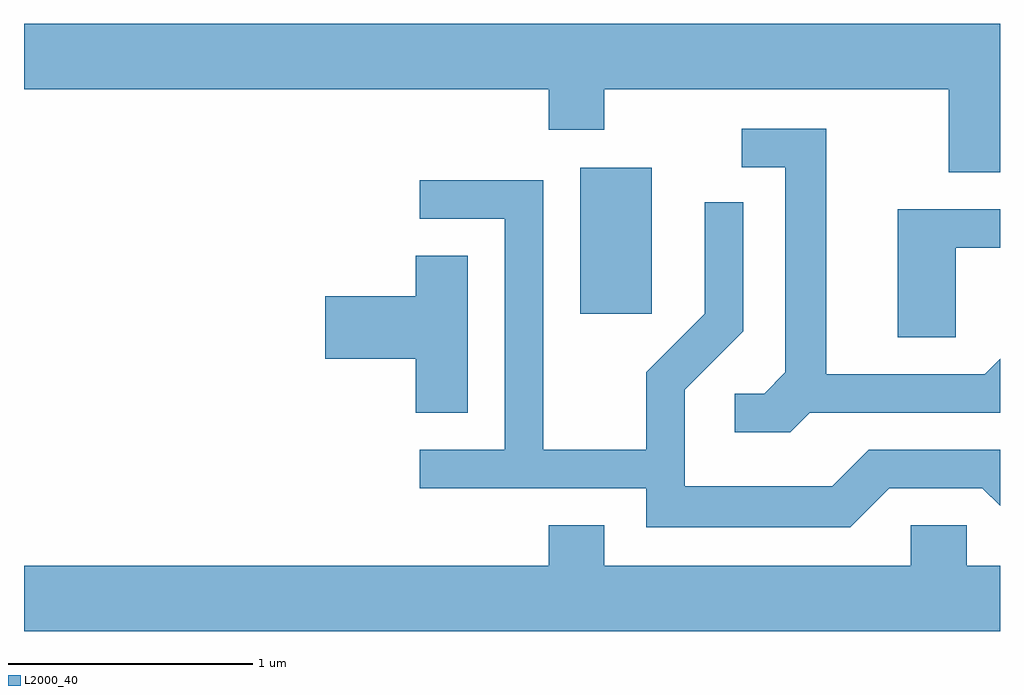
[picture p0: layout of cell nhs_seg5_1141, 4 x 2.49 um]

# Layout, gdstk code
import gdstk
lib = gdstk.Library(unit=1e-6, precision=1e-09)
def R(c, l, rs):  # rectangles x0, y0, x1, y1
    for r in rs: c.add(gdstk.rectangle(r[:2], r[2:], *l))
def P(c, l, *ps):  # polygons
    for p in ps: c.add(gdstk.Polygon(p, *l))
L2000_40 = (2000, 40)

nhs_seg5_1141 = lib.new_cell('nhs_seg5_1141')
R(nhs_seg5_1141, L2000_40, [(221.891,1395.936,222.184,1396.534)])
P(nhs_seg5_1141, L2000_40, [(223.611,1397.124),(219.611,1397.124),(219.611,1396.856),(221.761,1396.856),(221.761,1396.691),(221.989,1396.691),(221.989,1396.856),(223.401,1396.856),(223.401,1396.516),(223.611,1396.516)],
  [(222.832,1395.531),(223.611,1395.531),(223.611,1395.752),(223.549,1395.689),(222.899,1395.689),(222.899,1396.694),(222.553,1396.694),(222.553,1396.536),(222.731,1396.536),(222.731,1395.697),(222.644,1395.609),(222.523,1395.609),(222.523,1395.451),(222.752,1395.451)],
  [(223.157,1395.221),(223.539,1395.221),(223.611,1395.149),(223.611,1395.379),(223.074,1395.379),(222.924,1395.229),(222.319,1395.229),(222.319,1395.624),(222.559,1395.864),(222.559,1396.393),(222.401,1396.393),(222.401,1395.937),(222.161,1395.697),(222.161,1395.379),(221.739,1395.379),(221.739,1396.484),(221.233,1396.484),(221.233,1396.326),(221.581,1396.326),(221.581,1395.379),(221.233,1395.379),(221.233,1395.221),(222.161,1395.221),(222.161,1395.061),(222.997,1395.061)],
  [(223.429,1396.206),(223.611,1396.206),(223.611,1396.364),(223.191,1396.364),(223.191,1395.841),(223.429,1395.841)],
  [(221.429,1396.174),(221.216,1396.174),(221.216,1396.009),(220.846,1396.009),(220.846,1395.751),(221.216,1395.751),(221.216,1395.531),(221.429,1395.531)],
  [(223.611,1394.904),(223.474,1394.904),(223.474,1395.069),(223.246,1395.069),(223.246,1394.904),(221.989,1394.904),(221.989,1395.069),(221.761,1395.069),(221.761,1394.904),(219.611,1394.904),(219.611,1394.636),(223.611,1394.636)])

lib.write_gds('nhs_seg5_1141.gds')
